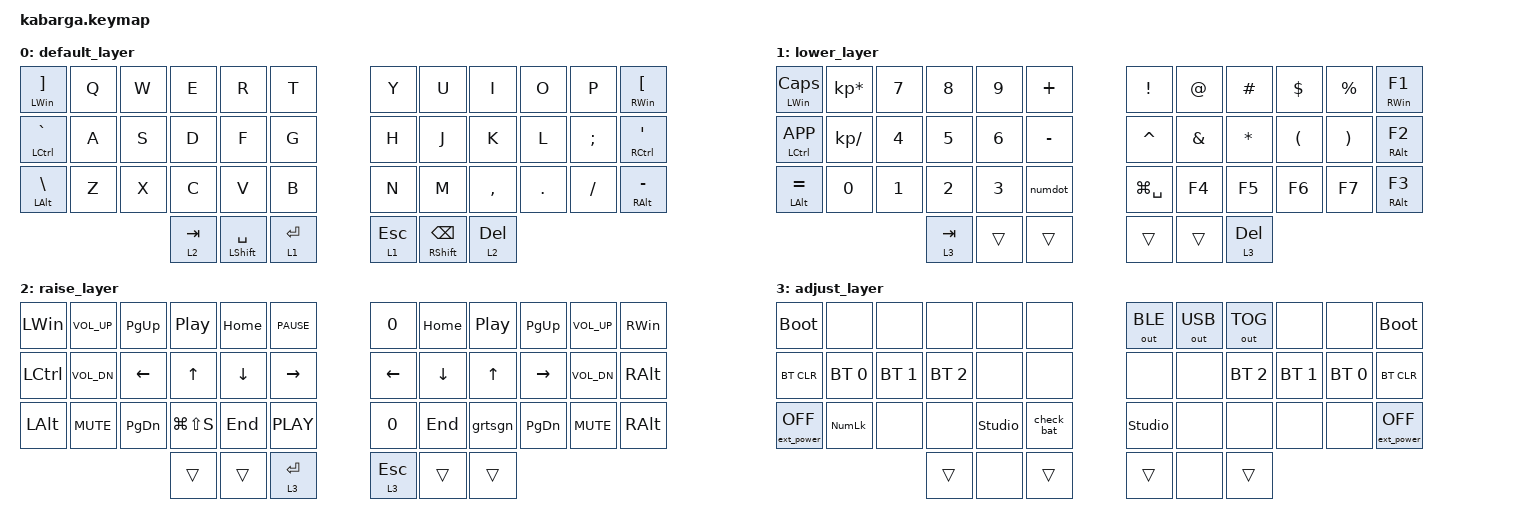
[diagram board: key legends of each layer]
/*
 * Copyright (c) 2020 The ZMK Contributors
 *
 * SPDX-License-Identifier: MIT
 */

#include <behaviors.dtsi>
#include <dt-bindings/zmk/keys.h>
#include <dt-bindings/zmk/bt.h>
#include <dt-bindings/zmk/outputs.h>
#include <dt-bindings/zmk/ext_power.h>

&lt { quick_tap_ms = <220>; };
&mt { quick_tap_ms = <220>; };

/ {
    macros {
        numdot: numdot {
            label = "ZM_numdot";
            compatible = "zmk,behavior-macro";
            #binding-cells = <0>;
            wait-ms = <40>;
            tap-ms = <40>;
            bindings
                = <&macro_press   &kp LALT>    
                , <&macro_tap     &kp KP_N4 &kp KP_N6>    
                , <&macro_release &kp LALT>
                ;
        };
        grtsgn: grtsgn {
            label = "ZM_grtsgn";
            compatible = "zmk,behavior-macro";
            #binding-cells = <0>;
            wait-ms = <40>;
            tap-ms = <40>;
            bindings
                = <&macro_press   &kp LALT>    
                , <&macro_tap     &kp KP_N6 &kp KP_N2>    
                , <&macro_release &kp LALT>
                ;
        };
    };
};
/ {
        combos {
                compatible = "zmk,combos";
                // Gap bead: J+K home-row adjacent (all layers).
                combo_esc {
                        bindings = <&kp ESC>;
                        key-positions = <19 20>;
                        timeout-ms = <50>;
                };
                // Gap bead: vertical D+C on Lower.
                combo_l1_tab {
                        bindings = <&kp TAB>;
                        key-positions = <15 27>;
                        layers = <1>;
                        timeout-ms = <50>;
                };
                // Anchor bead: non-adjacent F+H on Lower.
                combo_l1_caps {
                        bindings = <&kp CAPS>;
                        key-positions = <16 18>;
                        layers = <1>;
                        timeout-ms = <50>;
                };
                // Gap bead: U+I on Raise.
                combo_l2_esc {
                        bindings = <&kp ESC>;
                        key-positions = <7 8>;
                        layers = <2>;
                        timeout-ms = <50>;
                };
                // Anchor bead: J+K+L triple on Raise.
                combo_l2_bspc {
                        bindings = <&kp BSPC>;
                        key-positions = <19 20 21>;
                        layers = <2>;
                        timeout-ms = <50>;
                };
        };

        keymap {
                compatible = "zmk,keymap";

                default_layer {
// ------------------------------------------------------------------------------------------------
//| LGUI/] |  Q  |  W  |  E  |  R  |  T  |   |  Y  |  U   |  I  |  O  |  P  | RGUI/[ | 
//| CTRL/` |  A  |  S  |  D  |  F  |  G  |   |  H  |  J   |  K  |  L  |  ;  | CTRL/' |
//| LALT/\ |  Z  |  X  |  C  |  V  |  B  |   |  N  |  M   |  ,  |  .  |  /  | RALT/- |
//                             | RSE | SPC | LWR |   | LWR | BKSP | RSE |
                        bindings = <
  &mt LWIN RBKT   &kp Q &kp W &kp E &kp R &kp T               &kp Y  &kp U  &kp I     &kp O   &kp P    &mt RWIN LBKT 
  &mt LCTRL GRAVE &kp A &kp S &kp D &kp F &kp G               &kp H  &kp J  &kp K     &kp L   &kp SEMI &mt RCTRL SQT
  &mt LALT  BSLH  &kp Z &kp X &kp C &kp V &kp B               &kp N  &kp M  &kp COMMA &kp DOT &kp FSLH &mt RALT MINUS
        &lt 2 TAB &mt LSHFT SPACE &lt 1 RET              &lt 1 ESC &mt RSHFT BSPC &lt 2 DEL
                        >;
                };
                lower_layer {
// -----------------------------------------------------------------------------------------
//|LGUI/CAPS |  *  |  7 |  8  |  9  |  +  |    |  !  |  @  |  #  |  $  |  %  | RGUI/F1 |
//|CTRL/MENU |  /  |  4 |  5  |  6  |  -  |    |  ^  |  &  |  *  |  (  |  )  | CTRL/F2 |
//|  LALT/=  |  0  |  1 |  4  |  3  |  .  |    |  ls |  F4 |  F5 |  F6 |  F7 | RALT/F3 |
//                      | ADJ | ___ | ___ |    | ___ | ___ | ADJ |
                        bindings = <
 &mt LWIN CAPS   &kp KP_MULTIPLY  &kp N7 &kp N8   &kp N9      &kp PLUS                    &kp EXCL      &kp AT    &kp HASH   &kp DLLR  &kp PRCNT &mt RWIN F1  
 &mt LCTRL K_APP &kp KP_SLASH     &kp N4 &kp N5   &kp N6      &kp MINUS                   &kp CARET     &kp AMPS  &kp STAR   &kp LPAR  &kp RPAR  &mt RALT F2
 &mt LALT EQUAL  &kp N0           &kp N1 &kp N2   &kp N3      &numdot                     &kp LG(SPACE) &kp F4    &kp F5     &kp F6    &kp F7    &mt RALT F3
                                                  &lt 3 TAB &trans &trans        &trans &trans        &lt 3 DEL
                        >;
                };
                raise_layer {
// -----------------------------------------------------------------------------------------
//| LGUI |  VOLU  |  PGUP  | PLAY | HOME | ___  |            | ___  | HOME | PLAY| PGUP | VOLU | RGUI |
//| CTRL |  VOLD  |  LEFT  |  UP  | DOWN | RGHT |            | RGHT | DOWN | UP  | LEFT | VOLD | CTRL | 
//| LALT |  MUTE  |  PGDN  |  ___ | END  | ___  |            | ___  | END  | ___ | PGDN | MUTE | RALT |
//                          | ___ | ___  | ADJ  |            | ADJ  | ___  | ___ |
                        bindings = <
&kp LWIN   &kp C_VOL_UP   &kp PG_UP  &kp C_PP       &kp HOME &kp C_PAUSE                                 &kp N0    &kp HOME  &kp C_PP    &kp PG_UP  &kp C_VOL_UP  &kp RWIN
&kp LCTRL  &kp C_VOL_DN   &kp LEFT   &kp UP         &kp DOWN &kp RIGHT                                   &kp LEFT  &kp DOWN  &kp UP      &kp RIGHT  &kp C_VOL_DN  &kp RALT 
&kp LALT   &kp C_MUTE     &kp PG_DN  &kp LG(LS(S))  &kp END  &kp C_PLAY                                  &kp N0    &kp END   &grtsgn      &kp PG_DN  &kp C_MUTE    &kp RALT
                                                    &trans   &trans       &lt 3 RET        &lt 3 ESC &trans &trans
                        >; 
                };
                                adjust_layer {
// -----------------------------------------------------------------------------------------
//| BLDR |     |     |     |     |     |   |     |     |     |     |     | BLDR |
//| BTCLR| BT0 | BT1 | BT2 | BT3 | BT4 |   | BT4 | BT3 | BT2 | BT1 | BT0 | BTCLR|
//|pwrOFF|NUMLK|     |     |     |     |   |     |     |     |     |     |      |
//                   |     |     |     |   |     |     |     |
                        bindings = <
&bootloader           &none         &none        &none        &none        &none                             &out OUT_BLE &out OUT_USB &out OUT_TOG &none        &none         &bootloader
&bt BT_CLR            &bt BT_SEL 0  &bt BT_SEL 1 &bt BT_SEL 2 &none        &none                     &none  &none &bt BT_SEL 2 &bt BT_SEL 1 &bt BT_SEL 0  &bt BT_CLR
&ext_power EP_OFF     &kp KP_NUM    &none        &none        &studio_unlock   &check_bat            &studio_unlock        &none        &none        &none        &none         &ext_power EP_OFF 
                                                              &trans       &none     &trans           &trans &none        &trans
                        >;
                };
        };
};
